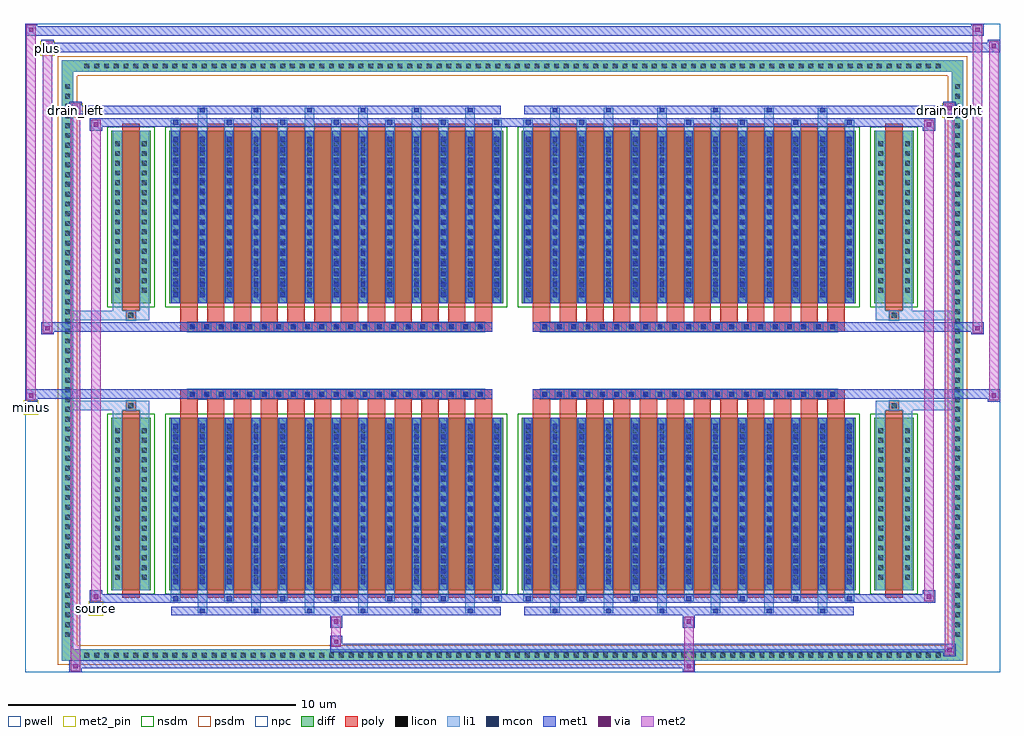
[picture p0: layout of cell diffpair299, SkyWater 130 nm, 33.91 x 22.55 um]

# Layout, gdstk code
import gdstk
lib = gdstk.Library(unit=1e-6, precision=5e-09)
def R(c, l, rs):  # rectangles x0, y0, x1, y1
    for r in rs: c.add(gdstk.rectangle(r[:2], r[2:], *l))
def A(c, l, x, y, w, h, nx, ny, dx, dy):  # array of equal rectangles
    R(c, l, [(x+i*dx, y+j*dy, x+i*dx+w, y+j*dy+h) for i in range(nx) for j in range(ny)])
def P(c, l, *ps):  # polygons
    for p in ps: c.add(gdstk.Polygon(p, *l))
pwell = (64, 44)
diff = (65, 20)
poly = (66, 20)
licon = (66, 44)
li1 = (67, 20)
mcon = (67, 44)
met1 = (68, 20)
via = (68, 44)
met2_pin = (69, 16)
met2 = (69, 20)
nsdm = (93, 44)
psdm = (94, 20)
npc = (95, 20)

diffpair299 = lib.new_cell('diffpair299')
R(diffpair299, pwell, [(-16.94,-10.84,16.94,11.71), (-14.26,-9.03,-0.01,-0.805), (0.01,-9.03,14.26,-0.805), (-14.26,0.805,-0.01,9.03), (0.01,0.805,14.26,9.03)])
A(diffpair299, diff, -14.995, -10.44, 0.41, 0.41, 88, 2, 0.34, 20.47)
A(diffpair299, diff, -15.67, -9.725, 0.41, 0.41, 1, 57, 0, 0.34)
A(diffpair299, diff, 15.26, -9.725, 0.41, 0.41, 1, 57, 0, 0.34)
R(diffpair299, diff, [(-14.995,-10.44,14.995,-10.03), (-15.67,-9.725,-15.26,9.725), (15.26,-9.725,15.67,9.725), (-13.95,-7.985,-12.57,-1.985), (-11.93,-7.985,-0.32,-1.985), (0.32,-7.985,11.93,-1.985), (12.57,-7.985,13.95,-1.985), (-13.95,1.985,-12.57,7.985), (-11.93,1.985,-0.32,7.985), (0.32,1.985,11.93,7.985), (12.57,1.985,13.95,7.985), (-14.995,10.03,14.995,10.44)])
P(diffpair299, diff, [(15.67,10.44),(-15.67,10.44),(-15.67,-10.03),(-15.26,-10.03),(-15.26,10.03),(15.26,10.03),(15.26,-10.03),(-15.26,-10.03),(-15.67,-10.03),(-15.67,-10.44),(15.67,-10.44)])
A(diffpair299, poly, -11.54, -8.235, 0.6, 6.5, 12, 2, 0.93, 9.97)
A(diffpair299, poly, 0.71, -8.235, 0.6, 6.5, 12, 2, 0.93, 9.97)
A(diffpair299, poly, -11.54, -1.735, 0.6, 0.4, 12, 2, 0.93, 3.07)
A(diffpair299, poly, 0.71, -1.735, 0.6, 0.4, 12, 2, 0.93, 3.07)
A(diffpair299, poly, -11.29, -1.335, 0.33, 0.33, 21, 2, 0.5, 2.34)
A(diffpair299, poly, 0.96, -1.335, 0.33, 0.33, 21, 2, 0.5, 2.34)
R(diffpair299, poly, [(-13.56,-8.235,-12.96,-1.735), (12.96,-8.235,13.56,-1.735), (-13.425,-1.735,-13.095,-1.405), (-13.425,-1.735,-13.095,-1.405), (13.095,-1.735,13.425,-1.405), (13.095,-1.735,13.425,-1.405), (-11.54,-1.335,-0.71,-1.005), (0.71,-1.335,11.54,-1.005), (-11.54,1.005,-0.71,1.335), (0.71,1.005,11.54,1.335), (-13.425,1.405,-13.095,1.735), (-13.425,1.405,-13.095,1.735), (13.095,1.405,13.425,1.735), (13.095,1.405,13.425,1.735), (-13.56,1.735,-12.96,8.235), (12.96,1.735,13.56,8.235)])
A(diffpair299, licon, -14.875, -10.32, 0.17, 0.17, 88, 2, 0.34, 20.47)
A(diffpair299, licon, -15.55, -9.605, 0.17, 0.17, 1, 57, 0, 0.34)
A(diffpair299, licon, 15.38, -9.605, 0.17, 0.17, 1, 57, 0, 0.34)
A(diffpair299, licon, -13.81, -7.62, 0.17, 0.17, 1, 16, 0, 0.34)
A(diffpair299, licon, -12.88, -7.62, 0.17, 0.17, 1, 16, 0, 0.34)
A(diffpair299, licon, -11.79, -7.62, 0.17, 0.17, 13, 16, 0.93, 0.34)
A(diffpair299, licon, 0.46, -7.62, 0.17, 0.17, 13, 16, 0.93, 0.34)
A(diffpair299, licon, 12.71, -7.62, 0.17, 0.17, 1, 16, 0, 0.34)
A(diffpair299, licon, 13.64, -7.62, 0.17, 0.17, 1, 16, 0, 0.34)
A(diffpair299, licon, -11.21, -1.255, 0.17, 0.17, 21, 2, 0.5, 2.34)
A(diffpair299, licon, 1.04, -1.255, 0.17, 0.17, 21, 2, 0.5, 2.34)
A(diffpair299, licon, -13.81, 2.35, 0.17, 0.17, 1, 16, 0, 0.34)
A(diffpair299, licon, -12.88, 2.35, 0.17, 0.17, 1, 16, 0, 0.34)
A(diffpair299, licon, -11.79, 2.35, 0.17, 0.17, 13, 16, 0.93, 0.34)
A(diffpair299, licon, 0.46, 2.35, 0.17, 0.17, 13, 16, 0.93, 0.34)
A(diffpair299, licon, 12.71, 2.35, 0.17, 0.17, 1, 16, 0, 0.34)
A(diffpair299, licon, 13.64, 2.35, 0.17, 0.17, 1, 16, 0, 0.34)
R(diffpair299, licon, [(-13.345,-1.655,-13.175,-1.485), (13.175,-1.655,13.345,-1.485), (-13.345,1.485,-13.175,1.655), (13.175,1.485,13.345,1.655)])
A(diffpair299, li1, -14.955, -10.4, 0.33, 0.33, 88, 2, 0.34, 20.47)
A(diffpair299, li1, -15.63, -9.685, 0.33, 0.33, 1, 57, 0, 0.34)
A(diffpair299, li1, 15.3, -9.685, 0.33, 0.33, 1, 57, 0, 0.34)
A(diffpair299, li1, -10.94, -8.79, 0.33, 0.805, 6, 2, 1.86, 16.775)
A(diffpair299, li1, -10.86, -8.79, 0.17, 0.17, 6, 2, 1.86, 17.41)
A(diffpair299, li1, 1.31, -8.79, 0.33, 0.805, 6, 2, 1.86, 16.775)
A(diffpair299, li1, 1.39, -8.79, 0.17, 0.17, 6, 2, 1.86, 17.41)
A(diffpair299, li1, -11.87, -8.36, 0.33, 0.375, 7, 2, 1.86, 16.345)
A(diffpair299, li1, -11.79, -8.36, 0.17, 0.17, 7, 2, 1.86, 16.55)
A(diffpair299, li1, 0.38, -8.36, 0.33, 0.375, 7, 2, 1.86, 16.345)
A(diffpair299, li1, 0.46, -8.36, 0.17, 0.17, 7, 2, 1.86, 16.55)
A(diffpair299, li1, -11.87, -7.985, 0.33, 6, 13, 2, 0.93, 9.97)
A(diffpair299, li1, 0.38, -7.985, 0.33, 6, 13, 2, 0.93, 9.97)
A(diffpair299, li1, -11.79, -7.77, 0.17, 0.17, 13, 16, 0.93, 0.36)
A(diffpair299, li1, -11.79, -7.77, 0.17, 5.57, 13, 2, 0.93, 9.97)
A(diffpair299, li1, 0.46, -7.77, 0.17, 0.17, 13, 16, 0.93, 0.36)
A(diffpair299, li1, 0.46, -7.77, 0.17, 5.57, 13, 2, 0.93, 9.97)
A(diffpair299, li1, -13.89, -7.7, 0.33, 0.33, 1, 16, 0, 0.34)
A(diffpair299, li1, -12.96, -7.7, 0.33, 0.33, 1, 16, 0, 0.34)
A(diffpair299, li1, -11.87, -7.7, 0.33, 0.33, 13, 16, 0.93, 0.34)
A(diffpair299, li1, 0.38, -7.7, 0.33, 0.33, 13, 16, 0.93, 0.34)
A(diffpair299, li1, 12.63, -7.7, 0.33, 0.33, 1, 16, 0, 0.34)
A(diffpair299, li1, 13.56, -7.7, 0.33, 0.33, 1, 16, 0, 0.34)
A(diffpair299, li1, -11.29, -1.335, 0.33, 0.33, 21, 2, 0.5, 2.34)
A(diffpair299, li1, 0.96, -1.335, 0.33, 0.33, 21, 2, 0.5, 2.34)
A(diffpair299, li1, -11.79, 2.2, 0.17, 0.17, 13, 16, 0.93, 0.36)
A(diffpair299, li1, 0.46, 2.2, 0.17, 0.17, 13, 16, 0.93, 0.36)
A(diffpair299, li1, -13.89, 2.27, 0.33, 0.33, 1, 16, 0, 0.34)
A(diffpair299, li1, -12.96, 2.27, 0.33, 0.33, 1, 16, 0, 0.34)
A(diffpair299, li1, -11.87, 2.27, 0.33, 0.33, 13, 16, 0.93, 0.34)
A(diffpair299, li1, 0.38, 2.27, 0.33, 0.33, 13, 16, 0.93, 0.34)
A(diffpair299, li1, 12.63, 2.27, 0.33, 0.33, 1, 16, 0, 0.34)
A(diffpair299, li1, 13.56, 2.27, 0.33, 0.33, 1, 16, 0, 0.34)
R(diffpair299, li1, [(-15.67,-10.44,-15.26,-10.03), (-15.67,-10.44,-15.26,-10.03), (-15.26,-10.44,15.26,-10.03), (15.26,-10.44,15.67,-10.03), (15.26,-10.44,15.67,-10.03), (-15.67,-10.03,-15.26,10.03), (15.26,-10.03,15.67,10.03), (-13.89,-7.985,-13.56,-1.985), (-12.96,-7.985,-12.63,-1.985), (12.63,-7.985,12.96,-1.985), (13.56,-7.985,13.89,-1.985), (-13.89,-1.985,-13.56,-1.405), (-12.96,-1.985,-12.63,-1.405), (12.63,-1.985,12.96,-1.405), (13.56,-1.985,13.89,-1.405), (-15.67,-1.735,-13.425,-1.405), (-13.89,-1.735,-13.425,-1.405), (-13.425,-1.735,-13.095,-1.405), (-13.095,-1.735,-12.63,-1.405), (12.63,-1.735,13.095,-1.405), (13.095,-1.735,13.425,-1.405), (13.095,-1.735,15.67,-1.405), (13.425,-1.735,13.89,-1.405), (-15.67,1.405,-13.425,1.735), (-13.89,1.405,-13.425,1.735), (-13.89,1.405,-13.56,1.985), (-13.425,1.405,-13.095,1.735), (-13.095,1.405,-12.63,1.735), (-12.96,1.405,-12.63,1.985), (12.63,1.405,13.095,1.735), (12.63,1.405,12.96,1.985), (13.095,1.405,13.425,1.735), (13.095,1.405,15.67,1.735), (13.425,1.405,13.89,1.735), (13.56,1.405,13.89,1.985), (-13.89,1.985,-13.56,7.985), (-12.96,1.985,-12.63,7.985), (12.63,1.985,12.96,7.985), (13.56,1.985,13.89,7.985), (-15.67,10.03,-15.26,10.44), (-15.67,10.03,-15.26,10.44), (-15.26,10.03,15.26,10.44), (15.26,10.03,15.67,10.44), (15.26,10.03,15.67,10.44)])
A(diffpair299, mcon, -10.86, -8.79, 0.17, 0.17, 6, 2, 1.86, 17.41)
A(diffpair299, mcon, 1.39, -8.79, 0.17, 0.17, 6, 2, 1.86, 17.41)
A(diffpair299, mcon, -11.79, -8.36, 0.17, 0.17, 7, 2, 1.86, 16.55)
A(diffpair299, mcon, 0.46, -8.36, 0.17, 0.17, 7, 2, 1.86, 16.55)
A(diffpair299, mcon, -11.79, -7.77, 0.17, 0.17, 13, 16, 0.93, 0.36)
A(diffpair299, mcon, 0.46, -7.77, 0.17, 0.17, 13, 16, 0.93, 0.36)
A(diffpair299, mcon, -11.21, -1.255, 0.17, 0.17, 21, 2, 0.5, 2.34)
A(diffpair299, mcon, 1.04, -1.255, 0.17, 0.17, 21, 2, 0.5, 2.34)
A(diffpair299, mcon, -11.79, 2.2, 0.17, 0.17, 13, 16, 0.93, 0.36)
A(diffpair299, mcon, 0.46, 2.2, 0.17, 0.17, 13, 16, 0.93, 0.36)
A(diffpair299, met1, -10.92, -8.85, 0.29, 0.29, 6, 2, 1.86, 17.41)
A(diffpair299, met1, 1.33, -8.85, 0.29, 0.29, 6, 2, 1.86, 17.41)
A(diffpair299, met1, -11.85, -8.42, 0.29, 0.29, 7, 2, 1.86, 16.55)
A(diffpair299, met1, 0.4, -8.42, 0.29, 0.29, 7, 2, 1.86, 16.55)
A(diffpair299, met1, -11.85, -7.985, 0.29, 6, 13, 2, 0.93, 9.97)
A(diffpair299, met1, 0.4, -7.985, 0.29, 6, 13, 2, 0.93, 9.97)
A(diffpair299, met1, -11.85, -7.83, 0.29, 0.29, 13, 16, 0.93, 0.36)
A(diffpair299, met1, 0.4, -7.83, 0.29, 0.29, 13, 16, 0.93, 0.36)
A(diffpair299, met1, -11.27, -1.315, 0.29, 0.29, 21, 2, 0.5, 2.34)
A(diffpair299, met1, 0.98, -1.315, 0.29, 0.29, 21, 2, 0.5, 2.34)
A(diffpair299, met1, -11.85, 2.14, 0.29, 0.29, 13, 16, 0.93, 0.36)
A(diffpair299, met1, 0.4, 2.14, 0.29, 0.29, 13, 16, 0.93, 0.36)
R(diffpair299, met1, [(-15.4,-10.84,-14.97,-10.41), (5.91,-10.84,6.34,-10.41), (-15.4,-10.7,6.34,-10.41), (14.97,-10.27,15.4,-9.84), (-6.34,-10.13,15.4,-9.84), (-6.34,-9.99,-5.91,-9.56), (-6.34,-9.28,-5.91,-8.85), (5.91,-9.28,6.34,-8.85), (-11.85,-8.85,-0.4,-8.56), (0.4,-8.85,11.85,-8.56), (-14.69,-8.42,-14.26,-7.99), (-14.69,-8.42,-11.85,-8.13), (-11.85,-8.42,-0.4,-8.13), (-0.4,-8.42,0.4,-8.13), (0.4,-8.42,11.85,-8.13), (11.85,-8.42,14.69,-8.13), (14.26,-8.42,14.69,-7.99), (-16.94,-1.435,-16.51,-1.005), (16.51,-1.435,16.94,-1.005), (-16.94,-1.335,-0.71,-1.005), (-11.54,-1.335,-0.71,-1.005), (0.71,-1.335,11.54,-1.005), (0.71,-1.335,16.94,-1.005), (-16.37,0.905,-15.94,1.335), (15.94,0.905,16.37,1.335), (-16.37,1.005,-11.54,1.335), (-11.54,1.005,-0.71,1.335), (0.71,1.005,11.54,1.335), (11.54,1.005,16.37,1.335), (-14.69,7.99,-14.26,8.42), (14.26,7.99,14.69,8.42), (-14.69,8.13,-11.85,8.42), (-11.85,8.13,-0.4,8.42), (-0.4,8.13,0.4,8.42), (0.4,8.13,11.85,8.42), (11.85,8.13,14.69,8.42), (-15.4,8.56,-14.97,8.99), (-15.4,8.56,-11.85,8.85), (-11.85,8.56,-0.4,8.85), (0.4,8.56,11.85,8.85), (11.85,8.56,15.4,8.85), (14.97,8.56,15.4,8.99), (-16.37,10.71,-15.94,11.14), (-16.37,10.71,-14.26,11.04), (-14.26,10.71,14.26,11.04), (14.26,10.71,16.94,11.04), (16.51,10.71,16.94,11.14), (-16.94,11.28,-16.51,11.71), (-16.94,11.28,-14.26,11.61), (-14.26,11.28,14.26,11.61), (14.26,11.28,16.37,11.61), (15.94,11.28,16.37,11.71)])
R(diffpair299, via, [(-15.26,-10.7,-15.11,-10.55), (6.05,-10.7,6.2,-10.55), (15.11,-10.13,15.26,-9.98), (-6.2,-9.85,-6.05,-9.7), (-6.2,-9.14,-6.05,-8.99), (6.05,-9.14,6.2,-8.99), (-14.55,-8.28,-14.4,-8.13), (14.4,-8.28,14.55,-8.13), (-16.8,-1.295,-16.65,-1.145), (16.65,-1.295,16.8,-1.145), (-16.23,1.045,-16.08,1.195), (16.08,1.045,16.23,1.195), (-14.55,8.13,-14.4,8.28), (14.4,8.13,14.55,8.28), (-15.26,8.7,-15.11,8.85), (15.11,8.7,15.26,8.85), (-16.23,10.85,-16.08,11), (16.65,10.85,16.8,11), (-16.8,11.42,-16.65,11.57), (16.08,11.42,16.23,11.57)])
R(diffpair299, met2_pin, [(-14.725,-8.87,-14.225,-8.37), (-16.975,-1.885,-16.475,-1.385), (-15.435,8.44,-14.935,8.94), (14.935,8.44,15.435,8.94), (-16.405,10.59,-15.905,11.09)])
R(diffpair299, met2, [(-15.35,-10.79,-15.02,-10.46), (-15.35,-10.79,-15.02,8.94), (5.96,-10.79,6.29,-10.46), (5.96,-10.46,6.29,-9.23), (15.02,-10.22,15.35,-9.89), (15.02,-10.22,15.35,8.94), (-6.29,-9.94,-5.96,-9.61), (-6.29,-9.61,-5.96,-9.23), (-6.29,-9.23,-5.96,-8.9), (5.96,-9.23,6.29,-8.9), (-14.64,-8.37,-14.31,-8.04), (-14.64,-8.37,-14.31,8.37), (14.31,-8.37,14.64,-8.04), (14.31,-8.37,14.64,8.37), (-16.89,-1.385,-16.56,-1.055), (-16.89,-1.385,-16.56,11.66), (16.56,-1.385,16.89,-1.055), (16.56,-1.385,16.89,11.09), (-16.32,0.955,-15.99,1.285), (-16.32,0.955,-15.99,11.09), (15.99,0.955,16.32,1.285), (15.99,0.955,16.32,11.66), (-14.64,8.04,-14.31,8.37), (14.31,8.04,14.64,8.37), (-15.35,8.61,-15.02,8.94), (15.02,8.61,15.35,8.94), (-16.32,10.76,-15.99,11.09), (16.56,10.76,16.89,11.09), (-16.89,11.33,-16.56,11.66), (15.99,11.33,16.32,11.66)])
P(diffpair299, met2, [(16.89,-1.385),(16.89,-1.385),(16.89,-1.055),(16.89,-1.055)],
  [(16.89,10.76),(16.89,10.76),(16.89,11.09),(16.89,11.09)],
  [(-16.56,-1.385),(-16.56,-1.385),(-16.56,-1.055),(-16.56,-1.055)],
  [(-16.56,11.33),(-16.56,11.33),(-16.56,11.66),(-16.56,11.66)],
  [(16.32,0.955),(16.32,0.955),(16.32,1.285),(16.32,1.285)],
  [(16.32,11.33),(16.32,11.33),(16.32,11.66),(16.32,11.66)],
  [(-15.99,0.955),(-15.99,0.955),(-15.99,1.285),(-15.99,1.285)],
  [(-15.99,10.76),(-15.99,10.76),(-15.99,11.09),(-15.99,11.09)],
  [(-15.02,-10.79),(-15.02,-10.79),(-15.02,-10.46),(-15.02,-10.46)],
  [(-15.02,8.61),(-15.02,8.61),(-15.02,8.94),(-15.02,8.94)],
  [(15.35,-10.22),(15.35,-10.22),(15.35,-9.89),(15.35,-9.89)],
  [(15.35,8.61),(15.35,8.61),(15.35,8.94),(15.35,8.94)],
  [(-14.31,-8.37),(-14.31,-8.37),(-14.31,-8.04),(-14.31,-8.04)],
  [(-14.31,8.04),(-14.31,8.04),(-14.31,8.37),(-14.31,8.37)],
  [(14.64,-8.37),(14.64,-8.37),(14.64,-8.04),(14.64,-8.04)],
  [(14.64,8.04),(14.64,8.04),(14.64,8.37),(14.64,8.37)])
R(diffpair299, nsdm, [(-14.08,-8.115,-12.44,-1.855), (-12.06,-8.115,-0.19,-1.855), (0.19,-8.115,12.06,-1.855), (12.44,-8.115,14.08,-1.855), (-14.08,1.855,-12.44,8.115), (-12.06,1.855,-0.19,8.115), (0.19,1.855,12.06,8.115), (12.44,1.855,14.08,8.115)])
P(diffpair299, psdm, [(15.8,10.57),(-15.8,10.57),(-15.8,-9.9),(-15.13,-9.9),(-15.13,9.9),(15.13,9.9),(15.13,-9.9),(-15.13,-9.9),(-15.8,-9.9),(-15.8,-10.57),(15.8,-10.57)])
A(diffpair299, npc, -11.31, -1.355, 0.37, 0.37, 21, 2, 0.5, 2.34)
A(diffpair299, npc, 0.94, -1.355, 0.37, 0.37, 21, 2, 0.5, 2.34)
R(diffpair299, npc, [(-13.445,-1.755,-13.075,-1.385), (13.075,-1.755,13.445,-1.385), (-11.31,-1.355,-10.44,-0.985), (-11.31,-1.355,-10.44,-0.985), (-10.81,-1.355,-9.94,-0.985), (-10.81,-1.355,-9.94,-0.985), (-10.31,-1.355,-9.44,-0.985), (-10.31,-1.355,-9.44,-0.985), (-9.81,-1.355,-8.94,-0.985), (-9.81,-1.355,-8.94,-0.985), (-9.31,-1.355,-8.44,-0.985), (-9.31,-1.355,-8.44,-0.985), (-8.81,-1.355,-7.94,-0.985), (-8.81,-1.355,-7.94,-0.985), (-8.31,-1.355,-7.44,-0.985), (-8.31,-1.355,-7.44,-0.985), (-7.81,-1.355,-6.94,-0.985), (-7.81,-1.355,-6.94,-0.985), (-7.31,-1.355,-6.44,-0.985), (-7.31,-1.355,-6.44,-0.985), (-6.81,-1.355,-5.94,-0.985), (-6.81,-1.355,-5.94,-0.985), (-6.31,-1.355,-5.44,-0.985), (-6.31,-1.355,-5.44,-0.985), (-5.81,-1.355,-4.94,-0.985), (-5.81,-1.355,-4.94,-0.985), (-5.31,-1.355,-4.44,-0.985), (-5.31,-1.355,-4.44,-0.985), (-4.81,-1.355,-3.94,-0.985), (-4.81,-1.355,-3.94,-0.985), (-4.31,-1.355,-3.44,-0.985), (-4.31,-1.355,-3.44,-0.985), (-3.81,-1.355,-2.94,-0.985), (-3.81,-1.355,-2.94,-0.985), (-3.31,-1.355,-2.44,-0.985), (-3.31,-1.355,-2.44,-0.985), (-2.81,-1.355,-1.94,-0.985), (-2.81,-1.355,-1.94,-0.985), (-2.31,-1.355,-1.44,-0.985), (-2.31,-1.355,-1.44,-0.985), (-1.81,-1.355,-0.94,-0.985), (-1.81,-1.355,-0.94,-0.985), (0.94,-1.355,1.81,-0.985), (0.94,-1.355,1.81,-0.985), (1.44,-1.355,2.31,-0.985), (1.44,-1.355,2.31,-0.985), (1.94,-1.355,2.81,-0.985), (1.94,-1.355,2.81,-0.985), (2.44,-1.355,3.31,-0.985), (2.44,-1.355,3.31,-0.985), (2.94,-1.355,3.81,-0.985), (2.94,-1.355,3.81,-0.985), (3.44,-1.355,4.31,-0.985), (3.44,-1.355,4.31,-0.985), (3.94,-1.355,4.81,-0.985), (3.94,-1.355,4.81,-0.985), (4.44,-1.355,5.31,-0.985), (4.44,-1.355,5.31,-0.985), (4.94,-1.355,5.81,-0.985), (4.94,-1.355,5.81,-0.985), (5.44,-1.355,6.31,-0.985), (5.44,-1.355,6.31,-0.985), (5.94,-1.355,6.81,-0.985), (5.94,-1.355,6.81,-0.985), (6.44,-1.355,7.31,-0.985), (6.44,-1.355,7.31,-0.985), (6.94,-1.355,7.81,-0.985), (6.94,-1.355,7.81,-0.985), (7.44,-1.355,8.31,-0.985), (7.44,-1.355,8.31,-0.985), (7.94,-1.355,8.81,-0.985), (7.94,-1.355,8.81,-0.985), (8.44,-1.355,9.31,-0.985), (8.44,-1.355,9.31,-0.985), (8.94,-1.355,9.81,-0.985), (8.94,-1.355,9.81,-0.985), (9.44,-1.355,10.31,-0.985), (9.44,-1.355,10.31,-0.985), (9.94,-1.355,10.81,-0.985), (9.94,-1.355,10.81,-0.985), (10.44,-1.355,11.31,-0.985), (10.44,-1.355,11.31,-0.985), (-11.31,0.985,-10.44,1.355), (-11.31,0.985,-10.44,1.355), (-10.81,0.985,-9.94,1.355), (-10.81,0.985,-9.94,1.355), (-10.31,0.985,-9.44,1.355), (-10.31,0.985,-9.44,1.355), (-9.81,0.985,-8.94,1.355), (-9.81,0.985,-8.94,1.355), (-9.31,0.985,-8.44,1.355), (-9.31,0.985,-8.44,1.355), (-8.81,0.985,-7.94,1.355), (-8.81,0.985,-7.94,1.355), (-8.31,0.985,-7.44,1.355), (-8.31,0.985,-7.44,1.355), (-7.81,0.985,-6.94,1.355), (-7.81,0.985,-6.94,1.355), (-7.31,0.985,-6.44,1.355), (-7.31,0.985,-6.44,1.355), (-6.81,0.985,-5.94,1.355), (-6.81,0.985,-5.94,1.355), (-6.31,0.985,-5.44,1.355), (-6.31,0.985,-5.44,1.355), (-5.81,0.985,-4.94,1.355), (-5.81,0.985,-4.94,1.355), (-5.31,0.985,-4.44,1.355), (-5.31,0.985,-4.44,1.355), (-4.81,0.985,-3.94,1.355), (-4.81,0.985,-3.94,1.355), (-4.31,0.985,-3.44,1.355), (-4.31,0.985,-3.44,1.355), (-3.81,0.985,-2.94,1.355), (-3.81,0.985,-2.94,1.355), (-3.31,0.985,-2.44,1.355), (-3.31,0.985,-2.44,1.355), (-2.81,0.985,-1.94,1.355), (-2.81,0.985,-1.94,1.355), (-2.31,0.985,-1.44,1.355), (-2.31,0.985,-1.44,1.355), (-1.81,0.985,-0.94,1.355), (-1.81,0.985,-0.94,1.355), (0.94,0.985,1.81,1.355), (0.94,0.985,1.81,1.355), (1.44,0.985,2.31,1.355), (1.44,0.985,2.31,1.355), (1.94,0.985,2.81,1.355), (1.94,0.985,2.81,1.355), (2.44,0.985,3.31,1.355), (2.44,0.985,3.31,1.355), (2.94,0.985,3.81,1.355), (2.94,0.985,3.81,1.355), (3.44,0.985,4.31,1.355), (3.44,0.985,4.31,1.355), (3.94,0.985,4.81,1.355), (3.94,0.985,4.81,1.355), (4.44,0.985,5.31,1.355), (4.44,0.985,5.31,1.355), (4.94,0.985,5.81,1.355), (4.94,0.985,5.81,1.355), (5.44,0.985,6.31,1.355), (5.44,0.985,6.31,1.355), (5.94,0.985,6.81,1.355), (5.94,0.985,6.81,1.355), (6.44,0.985,7.31,1.355), (6.44,0.985,7.31,1.355), (6.94,0.985,7.81,1.355), (6.94,0.985,7.81,1.355), (7.44,0.985,8.31,1.355), (7.44,0.985,8.31,1.355), (7.94,0.985,8.81,1.355), (7.94,0.985,8.81,1.355), (8.44,0.985,9.31,1.355), (8.44,0.985,9.31,1.355), (8.94,0.985,9.81,1.355), (8.94,0.985,9.81,1.355), (9.44,0.985,10.31,1.355), (9.44,0.985,10.31,1.355), (9.94,0.985,10.81,1.355), (9.94,0.985,10.81,1.355), (10.44,0.985,11.31,1.355), (10.44,0.985,11.31,1.355), (-13.445,1.385,-13.075,1.755), (13.075,1.385,13.445,1.755)])
diffpair299.add(gdstk.Label('minus', (-16.725,-1.635), layer=69, texttype=5))
diffpair299.add(gdstk.Label('drain_right', (15.185,8.69), layer=69, texttype=5))
diffpair299.add(gdstk.Label('drain_left', (-15.185,8.69), layer=69, texttype=5))
diffpair299.add(gdstk.Label('source', (-14.475,-8.62), layer=69, texttype=5))
diffpair299.add(gdstk.Label('plus', (-16.155,10.84), layer=69, texttype=5))

lib.write_gds('diffpair299.gds')
